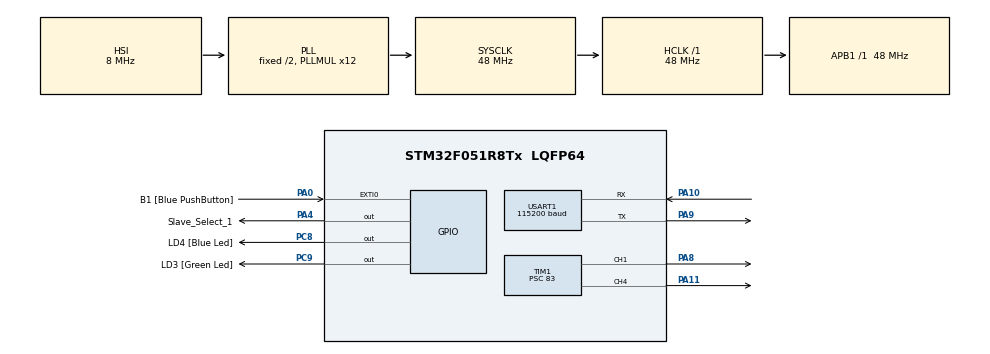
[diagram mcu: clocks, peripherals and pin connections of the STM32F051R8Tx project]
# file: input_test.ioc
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Mcu.Family=STM32F0
Mcu.Name=STM32F051R8Tx
Mcu.Package=LQFP64
NVIC.TIM1_BRK_UP_TRG_COM_IRQn=true\:0\:0\:false\:false\:true\:true
NVIC.USART1_IRQn=true\:0\:0\:false\:false\:true\:true
PA0.GPIO_Label=B1 [Blue PushButton]
PA0.GPIO_ModeDefaultEXTI=GPIO_MODE_EVT_RISING
PA0.Signal=GPXTI0
PA10.Mode=Asynchronous
PA10.Signal=USART1_RX
PA11.Signal=S_TIM1_CH4
PA13.GPIO_Label=SWDIO
PA13.Mode=Serial_Wire
PA13.Signal=SYS_SWDIO
PA14.GPIO_Label=SWCLK
PA14.Mode=Serial_Wire
PA14.Signal=SYS_SWCLK
PA4.GPIO_Label=Slave_Select_1
PA4.Signal=GPIO_Output
PA8.Signal=S_TIM1_CH1
PA9.Mode=Asynchronous
PA9.Signal=USART1_TX
PC8.GPIO_Label=LD4 [Blue Led]
PC8.Signal=GPIO_Output
PC9.GPIO_Label=LD3 [Green Led]
PC9.Signal=GPIO_Output
ProjectManager.HeapSize=0x200
ProjectManager.StackSize=0x400
ProjectManager.TargetToolchain=SW4STM32
RCC.AHBFreq_Value=48000000
RCC.APB1Freq_Value=48000000
RCC.APB1TimFreq_Value=48000000
RCC.HCLKFreq_Value=48000000
RCC.PLLMUL=RCC_PLL_MUL12
RCC.SYSCLKFreq_VALUE=48000000
RCC.SYSCLKSource=RCC_SYSCLKSOURCE_PLLCLK
SH.S_TIM1_CH1.0=TIM1_CH1,PWM Generation1 CH1
SH.S_TIM1_CH4.0=TIM1_CH4,PWM Generation4 CH4
TIM1.AutoReloadPreload=TIM_AUTORELOAD_PRELOAD_ENABLE
TIM1.Channel-PWM\ Generation1\ CH1=TIM_CHANNEL_1
TIM1.Channel-PWM\ Generation4\ CH4=TIM_CHANNEL_4
TIM1.Period=19999
TIM1.Prescaler=83
USART1.BaudRate=115200
USART1.VirtualMode-Asynchronous=VM_ASYNC
board=STM32F0DISCOVERY

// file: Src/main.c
/**
  ******************************************************************************
  * @file           : main.c
  * @brief          : Main program body
  ******************************************************************************
  ** This notice applies to any and all portions of this file
  * that are not between comment pairs USER CODE BEGIN and
  * USER CODE END. Other portions of this file, whether
  * inserted by the user or by software development tools
  * are owned by their respective copyright owners.
  *
  * COPYRIGHT(c) 2018 STMicroelectronics
  *
  * Redistribution and use in source and binary forms, with or without modification,
  * are permitted provided that the following conditions are met:
  *   1. Redistributions of source code must retain the above copyright notice,
  *      this list of conditions and the following disclaimer.
  *   2. Redistributions in binary form must reproduce the above copyright notice,
  *      this list of conditions and the following disclaimer in the documentation
  *      and/or other materials provided with the distribution.
  *   3. Neither the name of STMicroelectronics nor the names of its contributors
  *      may be used to endorse or promote products derived from this software
  *      without specific prior written permission.
  *
  * THIS SOFTWARE IS PROVIDED BY THE COPYRIGHT HOLDERS AND CONTRIBUTORS "AS IS"
  * AND ANY EXPRESS OR IMPLIED WARRANTIES, INCLUDING, BUT NOT LIMITED TO, THE
  * IMPLIED WARRANTIES OF MERCHANTABILITY AND FITNESS FOR A PARTICULAR PURPOSE ARE
  * DISCLAIMED. IN NO EVENT SHALL THE COPYRIGHT HOLDER OR CONTRIBUTORS BE LIABLE
  * FOR ANY DIRECT, INDIRECT, INCIDENTAL, SPECIAL, EXEMPLARY, OR CONSEQUENTIAL
  * DAMAGES (INCLUDING, BUT NOT LIMITED TO, PROCUREMENT OF SUBSTITUTE GOODS OR
  * SERVICES; LOSS OF USE, DATA, OR PROFITS; OR BUSINESS INTERRUPTION) HOWEVER
  * CAUSED AND ON ANY THEORY OF LIABILITY, WHETHER IN CONTRACT, STRICT LIABILITY,
  * OR TORT (INCLUDING NEGLIGENCE OR OTHERWISE) ARISING IN ANY WAY OUT OF THE USE
  * OF THIS SOFTWARE, EVEN IF ADVISED OF THE POSSIBILITY OF SUCH DAMAGE.
  *
  ******************************************************************************
  */
#include "main.h"
#include "stm32f0xx_hal.h"

TIM_HandleTypeDef htim1;

UART_HandleTypeDef huart1;

/* USER CODE BEGIN PV */
/* Private variables ---------------------------------------------------------*/
int infoState = 0;
char input[100];
char lastRecString[100];
char idx, data[2], buffer[100], complete;
int y_diff = 0;

int MAX_Y = 1250;
int MIN_Y = 1100;
int MAX_X = 700;
int MIN_X = 300;
int mid_x = 320;
int mid_y = 240;
int delta_max_x = 40;
int delta_max_y = 50;
int motor_input_x = 500;
int motor_input_y = 1250;

/* USER CODE END PV */

void SystemClock_Config(void);
static void MX_GPIO_Init(void);
static void MX_USART1_UART_Init(void);
static void MX_TIM1_Init(void);
void HAL_TIM_MspPostInit(TIM_HandleTypeDef *htim);

/* USER CODE BEGIN PFP */
/* Private function prototypes -----------------------------------------------*/

/* USER CODE END PFP */

/* USER CODE BEGIN 0 */

void transmitString(char* ch){
	//infoState = 1;
	HAL_UART_Transmit(&huart1, (uint8_t *)ch, strlen(ch), 50);
	return;
}

void HAL_UART_RxCpltCallback(UART_HandleTypeDef* huart){
	uint8_t i;
	if (huart -> Instance == USART1){
		if(idx == 0){
			//clear the buffer before receiving incoming signal
			for(i = 0; i < 100; i++){
				buffer[i] = 0;
			}
		}
		//start receiving data when enter is pressed
		if(data[0] != 10 && data[0] != 13){
			buffer[idx++] = data[0]; //transferring data
		}
		else{
			idx = 0;
			complete = 1; //update transfer complete flag to be on (=1)
		}

		HAL_UART_Receive_IT(&huart1, (uint8_t *) data, 1);
	}
}

void receiveString(){
	//HAL_UART_RxCpltCallback(&huart1);
	if(complete){
	  sprintf(input,"%s\n",buffer);	//use sprintf to add the new line character
  	  char* input = buffer;
	  transmitString(input);		//transmit the received signal to the output
  	  complete = 0;					//reset the complete transfer flag
  	  infoState = 1;				//raised the receiving signal flag

  	}
	return;
}

void scan_input(int* x_coord, int* y_coord){
		  if(complete){
		  	sprintf(input,"%s", buffer);
		  	char sep[2]=",";
		  	char* translate_input;

		  	char output[100];

			translate_input = strtok(input, sep);
			sprintf(output, "Hello from board. this is x input: %s\n", translate_input);
			*x_coord = atoi(translate_input);
			transmitString(output);		//transmit the received signal to the output

			translate_input = strtok(NULL, sep);

			sprintf(output, "Hello from board. this is y input: %s\n", translate_input);
			*y_coord = atoi(translate_input);
			complete = 0;					//reset the complete transfer flag

	  }
}

void motor_x(int ccr_value){//max = 700 (highest x coord), min = 300 (lowest y coord)
	if(ccr_value >= MIN_X && ccr_value <= MAX_X){
		TIM1->CCR4 =ccr_value;//300 is the one edge 1200 is the other edge (x-axis, bottom motor)
	}
}

void motor_y(int ccr_value){//max = 1250(lowest y coord) main = 1100 (highest y coord)
	if(ccr_value >= MIN_Y && ccr_value <= MAX_Y){
		TIM1->CCR1 =ccr_value;//300 is the one edge 1200 is the other edge (y-axis, top motor)
	}
}

/* USER CODE END 0 */

int main(void)
{

  /* MCU Configuration----------------------------------------------------------*/

  /* Reset of all peripherals, Initializes the Flash interface and the Systick. */
  HAL_Init();

  /* Configure the system clock */
  SystemClock_Config();

  /* Initialize all configured peripherals */
  MX_GPIO_Init();
  MX_USART1_UART_Init();
  MX_TIM1_Init();
  /* USER CODE BEGIN 2 */
  HAL_UART_Receive_IT(&huart1, (uint8_t *) data, 1);
  HAL_TIM_Base_Start_IT(&htim1);
  HAL_TIM_PWM_Init(&htim1);//pwm
  TIM1->BDTR |=0x8000;
  TIM1->CCER |= 0X1;
  TIM1->CCER |= 0X1000;

  motor_x(500); //default position of x
  motor_y(1200); //default position of y
  /* USER CODE END 2 */

  /* Infinite loop */
  while (1)
  {

  /* USER CODE BEGIN 3 */
	volatile int x_coord = -1;
	volatile int y_coord = -1;
	scan_input(&x_coord, &y_coord);
	char output[100];

	int diff_x = x_coord - mid_x;
	int diff_y = y_coord - mid_y;
//	if(x_coord != -1){
//		char* print_val = itoa(diff_x);
//		sprintf(output, "Hello from board.the diff_x is : %s\n", print_val);
//		transmitString(output);
//	}
	if(diff_x < (-1 * delta_max_x) && x_coord != -1){
		motor_input_x += 5;
	}else if(diff_x > delta_max_x && x_coord != -1){
		motor_input_x -= 5;
	}

	if(diff_y < (-1 * delta_max_y) && y_coord != -1){
		motor_input_y -= 5;
	}else if(diff_y > delta_max_y && y_coord != -1){
		motor_input_y += 5;
	}

	motor_x(motor_input_x);
	motor_y(motor_input_y);

  }
  /* USER CODE END 3 */

}

void SystemClock_Config(void)
{

  RCC_OscInitTypeDef RCC_OscInitStruct;
  RCC_ClkInitTypeDef RCC_ClkInitStruct;
  RCC_PeriphCLKInitTypeDef PeriphClkInit;

    /**Initializes the CPU, AHB and APB busses clocks
    */
  RCC_OscInitStruct.OscillatorType = RCC_OSCILLATORTYPE_HSI;
  RCC_OscInitStruct.HSIState = RCC_HSI_ON;
  RCC_OscInitStruct.HSICalibrationValue = 16;
  RCC_OscInitStruct.PLL.PLLState = RCC_PLL_ON;
  RCC_OscInitStruct.PLL.PLLSource = RCC_PLLSOURCE_HSI;
  RCC_OscInitStruct.PLL.PLLMUL = RCC_PLL_MUL12;
  RCC_OscInitStruct.PLL.PREDIV = RCC_PREDIV_DIV1;
  if (HAL_RCC_OscConfig(&RCC_OscInitStruct) != HAL_OK)
  {
    _Error_Handler(__FILE__, __LINE__);
  }

    /**Initializes the CPU, AHB and APB busses clocks
    */
  RCC_ClkInitStruct.ClockType = RCC_CLOCKTYPE_HCLK|RCC_CLOCKTYPE_SYSCLK
                              |RCC_CLOCKTYPE_PCLK1;
  RCC_ClkInitStruct.SYSCLKSource = RCC_SYSCLKSOURCE_PLLCLK;
  RCC_ClkInitStruct.AHBCLKDivider = RCC_SYSCLK_DIV1;
  RCC_ClkInitStruct.APB1CLKDivider = RCC_HCLK_DIV1;

  if (HAL_RCC_ClockConfig(&RCC_ClkInitStruct, FLASH_LATENCY_1) != HAL_OK)
  {
    _Error_Handler(__FILE__, __LINE__);
  }

  PeriphClkInit.PeriphClockSelection = RCC_PERIPHCLK_USART1;
  PeriphClkInit.Usart1ClockSelection = RCC_USART1CLKSOURCE_PCLK1;
  if (HAL_RCCEx_PeriphCLKConfig(&PeriphClkInit) != HAL_OK)
  {
    _Error_Handler(__FILE__, __LINE__);
  }

    /**Configure the Systick interrupt time
    */
  HAL_SYSTICK_Config(HAL_RCC_GetHCLKFreq()/1000);

    /**Configure the Systick
    */
  HAL_SYSTICK_CLKSourceConfig(SYSTICK_CLKSOURCE_HCLK);

  /* SysTick_IRQn interrupt configuration */
  HAL_NVIC_SetPriority(SysTick_IRQn, 0, 0);
}

/* TIM1 init function */
static void MX_TIM1_Init(void)
{

  TIM_MasterConfigTypeDef sMasterConfig;
  TIM_OC_InitTypeDef sConfigOC;
  TIM_BreakDeadTimeConfigTypeDef sBreakDeadTimeConfig;

  htim1.Instance = TIM1;
  htim1.Init.Prescaler = 83;
  htim1.Init.CounterMode = TIM_COUNTERMODE_UP;
  htim1.Init.Period = 19999;
  htim1.Init.ClockDivision = TIM_CLOCKDIVISION_DIV1;
  htim1.Init.RepetitionCounter = 0;
  htim1.Init.AutoReloadPreload = TIM_AUTORELOAD_PRELOAD_ENABLE;
  if (HAL_TIM_PWM_Init(&htim1) != HAL_OK)
  {
    _Error_Handler(__FILE__, __LINE__);
  }

  sMasterConfig.MasterOutputTrigger = TIM_TRGO_RESET;
  sMasterConfig.MasterSlaveMode = TIM_MASTERSLAVEMODE_DISABLE;
  if (HAL_TIMEx_MasterConfigSynchronization(&htim1, &sMasterConfig) != HAL_OK)
  {
    _Error_Handler(__FILE__, __LINE__);
  }

  sConfigOC.OCMode = TIM_OCMODE_PWM1;
  sConfigOC.Pulse = 0;
  sConfigOC.OCPolarity = TIM_OCPOLARITY_HIGH;
  sConfigOC.OCNPolarity = TIM_OCNPOLARITY_HIGH;
  sConfigOC.OCFastMode = TIM_OCFAST_DISABLE;
  sConfigOC.OCIdleState = TIM_OCIDLESTATE_RESET;
  sConfigOC.OCNIdleState = TIM_OCNIDLESTATE_RESET;
  if (HAL_TIM_PWM_ConfigChannel(&htim1, &sConfigOC, TIM_CHANNEL_1) != HAL_OK)
  {
    _Error_Handler(__FILE__, __LINE__);
  }

  if (HAL_TIM_PWM_ConfigChannel(&htim1, &sConfigOC, TIM_CHANNEL_4) != HAL_OK)
  {
    _Error_Handler(__FILE__, __LINE__);
  }

  sBreakDeadTimeConfig.OffStateRunMode = TIM_OSSR_DISABLE;
  sBreakDeadTimeConfig.OffStateIDLEMode = TIM_OSSI_DISABLE;
  sBreakDeadTimeConfig.LockLevel = TIM_LOCKLEVEL_OFF;
  sBreakDeadTimeConfig.DeadTime = 0;
  sBreakDeadTimeConfig.BreakState = TIM_BREAK_DISABLE;
  sBreakDeadTimeConfig.BreakPolarity = TIM_BREAKPOLARITY_HIGH;
  sBreakDeadTimeConfig.AutomaticOutput = TIM_AUTOMATICOUTPUT_DISABLE;
  if (HAL_TIMEx_ConfigBreakDeadTime(&htim1, &sBreakDeadTimeConfig) != HAL_OK)
  {
    _Error_Handler(__FILE__, __LINE__);
  }

  HAL_TIM_MspPostInit(&htim1);

}

/* USART1 init function */
static void MX_USART1_UART_Init(void)
{

  huart1.Instance = USART1;
  huart1.Init.BaudRate = 115200;
  huart1.Init.WordLength = UART_WORDLENGTH_8B;
  huart1.Init.StopBits = UART_STOPBITS_1;
  huart1.Init.Parity = UART_PARITY_NONE;
  huart1.Init.Mode = UART_MODE_TX_RX;
  huart1.Init.HwFlowCtl = UART_HWCONTROL_NONE;
  huart1.Init.OverSampling = UART_OVERSAMPLING_16;
  huart1.Init.OneBitSampling = UART_ONE_BIT_SAMPLE_DISABLE;
  huart1.AdvancedInit.AdvFeatureInit = UART_ADVFEATURE_NO_INIT;
  if (HAL_UART_Init(&huart1) != HAL_OK)
  {
    _Error_Handler(__FILE__, __LINE__);
  }

}

/** Configure pins as
        * Analog
        * Input
        * Output
        * EVENT_OUT
        * EXTI
*/
static void MX_GPIO_Init(void)
{

  GPIO_InitTypeDef GPIO_InitStruct;

  /* GPIO Ports Clock Enable */
  __HAL_RCC_GPIOA_CLK_ENABLE();
  __HAL_RCC_GPIOC_CLK_ENABLE();

  /*Configure GPIO pin Output Level */
  HAL_GPIO_WritePin(Slave_Select_1_GPIO_Port, Slave_Select_1_Pin, GPIO_PIN_RESET);

  /*Configure GPIO pin Output Level */
  HAL_GPIO_WritePin(GPIOC, LD4_Pin|LD3_Pin, GPIO_PIN_RESET);

  /*Configure GPIO pin : B1_Pin */
  GPIO_InitStruct.Pin = B1_Pin;
  GPIO_InitStruct.Mode = GPIO_MODE_EVT_RISING;
  GPIO_InitStruct.Pull = GPIO_NOPULL;
  HAL_GPIO_Init(B1_GPIO_Port, &GPIO_InitStruct);

  /*Configure GPIO pin : Slave_Select_1_Pin */
  GPIO_InitStruct.Pin = Slave_Select_1_Pin;
  GPIO_InitStruct.Mode = GPIO_MODE_OUTPUT_PP;
  GPIO_InitStruct.Pull = GPIO_NOPULL;
  GPIO_InitStruct.Speed = GPIO_SPEED_FREQ_LOW;
  HAL_GPIO_Init(Slave_Select_1_GPIO_Port, &GPIO_InitStruct);

  /*Configure GPIO pins : LD4_Pin LD3_Pin */
  GPIO_InitStruct.Pin = LD4_Pin|LD3_Pin;
  GPIO_InitStruct.Mode = GPIO_MODE_OUTPUT_PP;
  GPIO_InitStruct.Pull = GPIO_NOPULL;
  GPIO_InitStruct.Speed = GPIO_SPEED_FREQ_LOW;
  HAL_GPIO_Init(GPIOC, &GPIO_InitStruct);

}

void _Error_Handler(char *file, int line)
{
  while(1)
  {
  }
}

/************************ (C) COPYRIGHT STMicroelectronics *****END OF FILE****/
